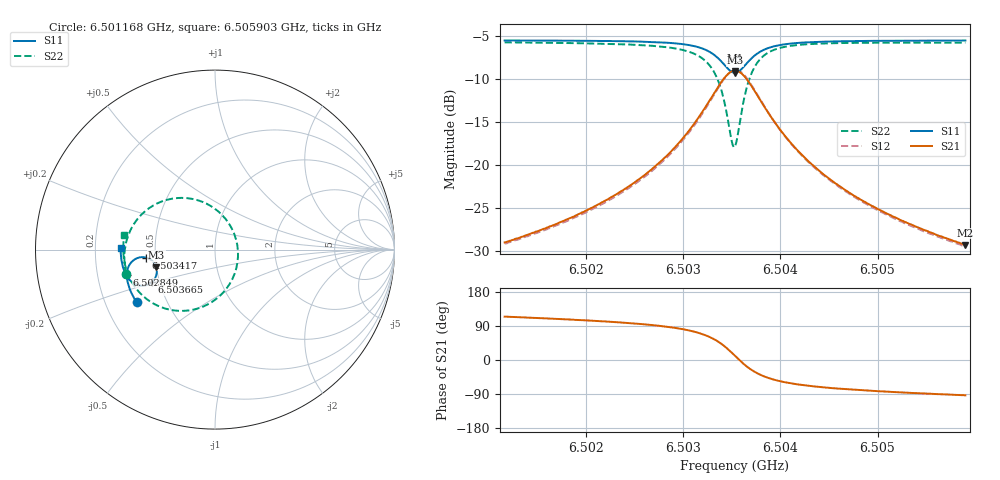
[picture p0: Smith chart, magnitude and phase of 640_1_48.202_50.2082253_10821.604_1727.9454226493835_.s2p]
#  HZ  S  RI  R  50.00
! Rohde & Schwarz Vector Network Analyzer
! Rohde-Schwarz,ZNB20-2Port,1311601062101988,3.16
! Created: UTC 3/20/2024, 12:04:46 PM
! freq[Hz]  re:S11  im:S11  re:S21  im:S21  re:S12  im:S12  re:S22  im:S22
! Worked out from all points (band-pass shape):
!   401 points, 6.501168 GHz to 6.505903 GHz, reference 50 ohm
!   highest |S21| = -9.07 dB at 6.503535 GHz (marker M1); lowest = -29.3 dB at 6.505903 GHz (marker M2)
!   |S21| within 3 dB of the highest: 6.503299 GHz to 6.503772 GHz (473.3 kHz wide, 0.00728 % of centre)
!   lowest |S11| = -9.3 dB at 6.503535 GHz (marker M3), VSWR 2.04, Z = 24.9 - j5.57 ohm
!   |S11| at or under -10 dB: nowhere
!   |S22| runs from -17.9 to -5.8 dB; largest |S21 - S12| = 0.013
!   S11 on the Smith chart (normalised r, x): 6.501168 GHz: 0.34, -0.27; 6.502849 GHz: 0.33, -0.12; 6.503417 GHz: 0.44, -0.05; 6.503665 GHz: 0.46, -0.19; 6.505903 GHz: 0.31, +0.01
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6.5011676e9  -0.4365 -0.2946  -0.0147 0.0324  -0.0129 0.0324  -0.4951 -0.136
6.5019607e9  -0.4692 -0.2341  -0.0138 0.0513  -0.0113 0.0505  -0.5049 -0.0481
6.5023987e9  -0.4837 -0.1937  -0.0104 0.0716  -0.00716 0.0703  -0.4997 0.0178
6.5027538e9  -0.4909 -0.1525  -0.0005 0.1025  0.00339 0.1001  -0.4776 0.094
6.5028485e9  -0.4912 -0.139  0.00537 0.1151  0.00927 0.1121  -0.4647 0.1207
6.5030497e9  -0.4855 -0.1043  0.0302 0.1516  0.0341 0.147  -0.4131 0.1916
6.5031918e9  -0.469 -0.0739  0.0718 0.1867  0.0746 0.1805  -0.3331 0.2518
6.503322e9  -0.4315 -0.0469  0.1515 0.213  0.1526 0.2065  -0.1877 0.2882
6.5034167e9  -0.3832 -0.0446  0.2464 0.1955  0.2468 0.1906  -0.0236 0.2429
6.5034996e9  -0.3386 -0.0755  0.3273 0.1178  0.3304 0.1134  0.1062 0.0897
6.5035351e9  -0.3274 -0.0987  0.3456 0.067  0.3498 0.0611  0.1277 -0.00599
6.5035588e9  -0.3243 -0.1157  0.349 0.031  0.3535 0.0237  0.1249 -0.0719
6.5035943e9  -0.3267 -0.1408  0.3409 -0.021  0.3451 -0.0308  0.0963 -0.1648
6.5036653e9  -0.35 -0.1796  0.2922 -0.1001  0.2924 -0.1128  -0.0189 -0.293
6.50376e9  -0.3924 -0.2001  0.2107 -0.1447  0.2055 -0.1559  -0.1851 -0.3416
6.503831e9  -0.4195 -0.2  0.1612 -0.15  0.1542 -0.1586  -0.2776 -0.3284
6.5039139e9  -0.4433 -0.1927  0.1193 -0.1436  0.1116 -0.1496  -0.3514 -0.2956
6.5040915e9  -0.4746 -0.1699  0.0673 -0.1201  0.0604 -0.1227  -0.4357 -0.2215
6.5043282e9  -0.496 -0.1401  0.0356 -0.0938  0.0305 -0.0944  -0.481 -0.1464
6.5046952e9  -0.512 -0.1004  0.0154 -0.0683  0.0118 -0.0681  -0.505 -0.0676
6.5051213e9  -0.521 -0.06  0.00553 -0.0512  0.00299 -0.0506  -0.5113 -0.00366
6.5059026e9  -0.5263 0.00719  -0.00192 -0.0344  -0.00338 -0.0337  -0.5046 0.0824
